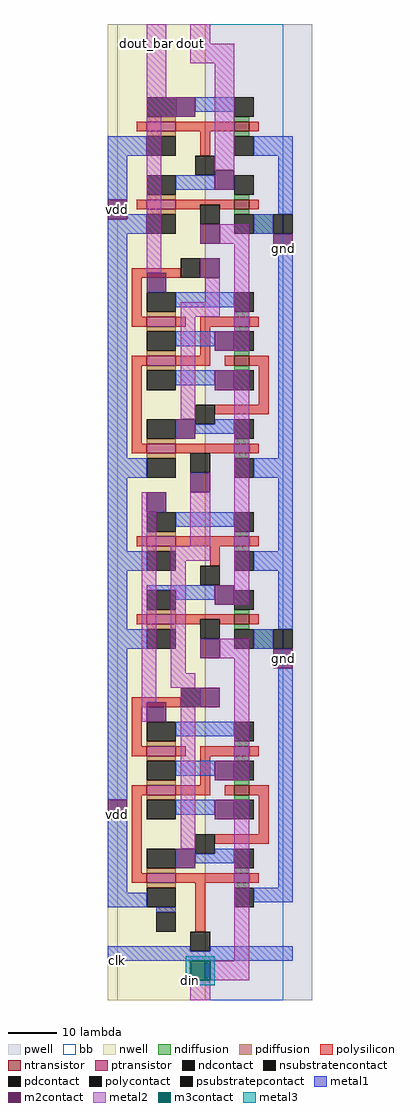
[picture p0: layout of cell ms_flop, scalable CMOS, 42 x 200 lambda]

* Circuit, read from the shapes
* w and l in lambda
.subckt ms_flop clk din dout dout_bar gnd vdd
M1 n1 clk gnd gnd nfet w=3 l=2
M2 n2 n1 din gnd nfet w=3 l=2
M3 n3 clk n2 gnd nfet w=3 l=2
M4 n4 n2 gnd gnd nfet w=3 l=2
M5 n3 n4 gnd gnd nfet w=3 l=2
M6 n5 n1 gnd gnd nfet w=3 l=2
M7 n6 n5 n4 gnd nfet w=3 l=2
M8 dout_bar n1 n6 gnd nfet w=3 l=2
M9 dout n6 gnd gnd nfet w=3 l=2
M10 dout_bar dout gnd gnd nfet w=3 l=2
M11 n1 clk vdd vdd pfet w=6 l=2
M12 n2 clk din vdd pfet w=6 l=2
M13 n3 n1 n2 vdd pfet w=6 l=2
M14 n4 n2 vdd vdd pfet w=6 l=2
M15 n3 n4 vdd vdd pfet w=6 l=2
M16 n5 n1 vdd vdd pfet w=6 l=2
M17 n6 n1 n4 vdd pfet w=6 l=2
M18 dout_bar n5 n6 vdd pfet w=6 l=2
M19 dout n6 vdd vdd pfet w=6 l=2
M20 dout_bar dout vdd vdd pfet w=6 l=2
.ends

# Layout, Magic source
magic
tech scmos
<< nwell >>
rect -2 0 18 200
<< pwell >>
rect 18 0 40 200
<< ntransistor >>
rect 24 178 27 180
rect 24 162 27 164
rect 24 138 27 140
rect 24 130 27 132
rect 24 112 27 114
rect 24 93 27 95
rect 24 77 27 79
rect 24 50 27 52
rect 24 42 27 44
rect 24 24 27 26
<< ptransistor >>
rect 6 178 12 180
rect 6 162 12 164
rect 6 138 12 140
rect 6 130 12 132
rect 6 112 12 114
rect 6 93 12 95
rect 6 77 12 79
rect 6 50 12 52
rect 6 42 12 44
rect 6 24 12 26
<< ndiffusion >>
rect 24 180 27 181
rect 24 177 27 178
rect 24 164 27 165
rect 24 161 27 162
rect 28 157 32 161
rect 24 140 27 141
rect 24 137 27 138
rect 24 132 27 133
rect 24 129 27 130
rect 24 114 27 115
rect 24 111 27 112
rect 24 95 27 96
rect 24 92 27 93
rect 24 79 27 80
rect 24 76 27 77
rect 28 72 32 76
rect 24 52 27 53
rect 24 49 27 50
rect 24 44 27 45
rect 24 41 27 42
rect 24 26 27 27
rect 24 23 27 24
<< pdiffusion >>
rect 6 180 12 181
rect 6 177 12 178
rect 6 164 12 165
rect 6 161 12 162
rect 6 140 12 141
rect 6 137 12 138
rect 6 132 12 133
rect 6 129 12 130
rect 6 114 12 115
rect 6 111 12 112
rect 6 95 12 96
rect 6 92 12 93
rect 6 79 12 80
rect 6 76 12 77
rect 6 52 12 53
rect 6 49 12 50
rect 6 44 12 45
rect 6 41 12 42
rect 6 26 12 27
rect 6 23 12 24
rect 8 18 12 19
<< ndcontact >>
rect 24 181 28 185
rect 24 173 28 177
rect 24 165 28 169
rect 24 157 28 161
rect 24 141 28 145
rect 24 133 28 137
rect 24 125 28 129
rect 24 115 28 119
rect 24 107 28 111
rect 24 96 28 100
rect 24 88 28 92
rect 24 80 28 84
rect 24 72 28 76
rect 24 53 28 57
rect 24 45 28 49
rect 24 37 28 41
rect 24 27 28 31
rect 24 19 28 23
<< pdcontact >>
rect 6 181 12 185
rect 6 173 12 177
rect 6 165 12 169
rect 6 157 12 161
rect 6 141 12 145
rect 6 133 12 137
rect 6 125 12 129
rect 6 115 12 119
rect 6 107 12 111
rect 6 96 12 100
rect 6 88 12 92
rect 6 80 12 84
rect 6 72 12 76
rect 6 53 12 57
rect 6 45 12 49
rect 6 37 12 41
rect 6 27 12 31
rect 6 19 12 23
<< psubstratepcontact >>
rect 32 157 36 161
rect 32 72 36 76
<< nsubstratencontact >>
rect 8 14 12 18
<< polysilicon >>
rect 4 178 6 180
rect 12 178 24 180
rect 27 178 29 180
rect 17 173 19 178
rect 4 162 6 164
rect 12 163 24 164
rect 12 162 17 163
rect 21 162 24 163
rect 27 162 29 164
rect 3 148 13 150
rect 3 140 5 148
rect 3 138 6 140
rect 12 138 14 140
rect 17 138 24 140
rect 27 138 29 140
rect 17 132 19 138
rect 3 130 6 132
rect 12 130 19 132
rect 22 130 24 132
rect 27 130 31 132
rect 3 114 5 130
rect 29 122 31 130
rect 20 120 31 122
rect 3 112 6 114
rect 12 112 24 114
rect 27 112 29 114
rect 4 93 6 95
rect 12 93 24 95
rect 27 93 29 95
rect 19 89 21 93
rect 4 77 6 79
rect 12 78 24 79
rect 12 77 17 78
rect 21 77 24 78
rect 27 77 29 79
rect 3 60 13 62
rect 3 52 5 60
rect 3 50 6 52
rect 12 50 14 52
rect 17 50 24 52
rect 27 50 29 52
rect 17 44 19 50
rect 3 42 6 44
rect 12 42 19 44
rect 22 42 24 44
rect 27 42 31 44
rect 3 26 5 42
rect 29 34 31 42
rect 20 32 31 34
rect 3 24 6 26
rect 12 24 24 26
rect 27 24 29 26
rect 16 14 18 24
<< polycontact >>
rect 16 169 20 173
rect 17 159 21 163
rect 13 148 17 152
rect 16 118 20 122
rect 15 108 19 112
rect 17 85 21 89
rect 17 74 21 78
rect 13 60 17 64
rect 16 30 20 34
rect 15 10 19 14
<< metal1 >>
rect 16 182 24 185
rect -2 173 6 177
rect 28 173 36 177
rect -2 164 2 173
rect 12 166 20 169
rect 2 160 6 161
rect -2 157 6 160
rect 33 161 36 173
rect -2 111 2 157
rect 28 157 32 161
rect 12 142 24 145
rect 12 134 20 137
rect 12 126 20 129
rect 20 118 24 119
rect 16 116 24 118
rect -2 107 6 111
rect 33 111 36 153
rect -2 92 2 107
rect 28 107 36 111
rect 12 97 24 100
rect 33 92 36 107
rect -2 88 6 92
rect -2 76 2 88
rect 28 88 36 92
rect 6 84 20 85
rect 12 82 20 84
rect -2 72 6 76
rect 33 76 36 88
rect -2 41 2 72
rect 28 72 32 76
rect 12 54 24 57
rect 12 46 20 49
rect 12 38 20 41
rect -2 22 2 37
rect 20 30 24 31
rect 16 28 24 30
rect 33 23 36 68
rect -2 19 6 22
rect 28 20 36 23
rect 8 18 12 19
rect -2 10 15 11
rect 19 10 36 11
rect -2 8 36 10
<< m2contact >>
rect 12 181 16 185
rect 20 166 24 170
rect -2 160 2 164
rect 17 155 21 159
rect 32 153 36 157
rect 6 145 10 149
rect 17 148 21 152
rect 20 133 24 137
rect 20 125 24 129
rect 12 115 16 119
rect 15 104 19 108
rect 6 100 10 104
rect 20 81 24 85
rect 17 70 21 74
rect 32 68 36 72
rect 6 57 10 61
rect 17 60 21 64
rect 20 45 24 49
rect -2 37 2 41
rect 20 37 24 41
rect 12 27 16 31
<< metal2 >>
rect 6 185 10 200
rect 15 196 19 200
rect 15 192 24 196
rect 6 181 12 185
rect 6 149 9 181
rect 20 170 24 192
rect 21 155 27 159
rect 18 143 21 148
rect 13 140 21 143
rect 13 119 16 140
rect 24 133 27 155
rect 5 100 6 104
rect 5 61 8 100
rect 15 93 19 104
rect 11 90 19 93
rect 11 67 14 90
rect 24 81 27 129
rect 21 70 27 74
rect 11 64 16 67
rect 5 57 6 61
rect 13 60 17 64
rect 13 31 16 60
rect 24 45 27 70
rect 24 8 27 41
rect 19 4 27 8
rect 15 0 19 4
<< m3contact >>
rect 15 4 19 8
<< metal3 >>
rect 14 8 20 9
rect 14 4 15 8
rect 19 4 20 8
rect 14 3 20 4
<< bb >>
rect 0 0 34 200
<< labels >>
rlabel metal1 0 8 0 8 2 clk
rlabel metal3 15 4 15 4 1 din
rlabel metal2 6 196 6 196 5 dout_bar
rlabel metal2 15 196 15 196 5 dout
rlabel m2contact 34 70 34 70 1 gnd
rlabel m2contact 34 154 34 154 1 gnd
rlabel m2contact 0 162 0 162 3 vdd
rlabel m2contact 0 38 0 38 3 vdd
<< end >>
